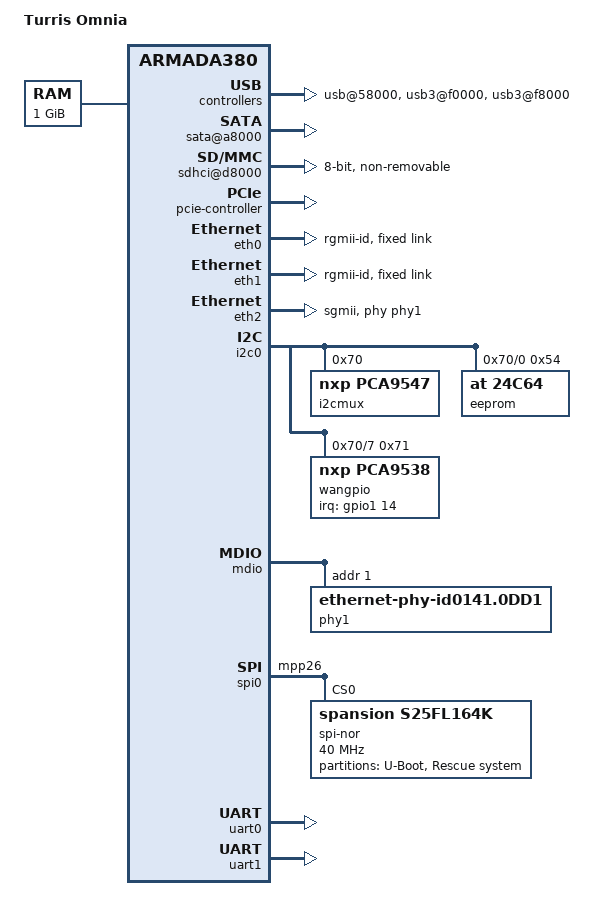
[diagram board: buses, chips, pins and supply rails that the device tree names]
/*
 * Device Tree file for the Turris Omnia
 * Schematic available at https://www.turris.cz/doc/_media/rtrom01-schema.pdf
 *
 * Copyright (C) 2016 Uwe Kleine-König <uwe@kleine-koenig.org>
 * Copyright (C) 2016 Tomas Hlavacek <tmshlvkc@gmail.com>
 *
 * This file is dual-licensed: you can use it either under the terms
 * of the GPL or the X11 license, at your option. Note that this dual
 * licensing only applies to this file, and not this project as a
 * whole.
 *
 *  a) This file is licensed under the terms of the GNU General Public
 *     License version 2.  This program is licensed "as is" without
 *     any warranty of any kind, whether express or implied.
 *
 * Or, alternatively,
 *
 *  b) Permission is hereby granted, free of charge, to any person
 *     obtaining a copy of this software and associated documentation
 *     files (the "Software"), to deal in the Software without
 *     restriction, including without limitation the rights to use,
 *     copy, modify, merge, publish, distribute, sublicense, and/or
 *     sell copies of the Software, and to permit persons to whom the
 *     Software is furnished to do so, subject to the following
 *     conditions:
 *
 *     The above copyright notice and this permission notice shall be
 *     included in all copies or substantial portions of the Software.
 *
 *     THE SOFTWARE IS PROVIDED "AS IS", WITHOUT WARRANTY OF ANY KIND,
 *     EXPRESS OR IMPLIED, INCLUDING BUT NOT LIMITED TO THE WARRANTIES
 *     OF MERCHANTABILITY, FITNESS FOR A PARTICULAR PURPOSE AND
 *     NONINFRINGEMENT. IN NO EVENT SHALL THE AUTHORS OR COPYRIGHT
 *     HOLDERS BE LIABLE FOR ANY CLAIM, DAMAGES OR OTHER LIABILITY,
 *     WHETHER IN AN ACTION OF CONTRACT, TORT OR OTHERWISE, ARISING
 *     FROM, OUT OF OR IN CONNECTION WITH THE SOFTWARE OR THE USE OR
 *     OTHER DEALINGS IN THE SOFTWARE.
 */

/dts-v1/;

#include <dt-bindings/gpio/gpio.h>
#include <dt-bindings/input/input.h>
#include "armada-385.dtsi"

/ {
	model = "Turris Omnia";
	compatible = "cznic,turris-omnia", "marvell,armada385", \
			"marvell,armada380";

	chosen {
		stdout-path = &uart0;
	};

	memory {
		device_type = "memory";
		reg = <0x00000000 0x40000000>; /* 1024 MB */
	};

	soc {
		ranges = <MBUS_ID(0xf0, 0x01) 0 0xf1000000 0x100000
			  MBUS_ID(0x01, 0x1d) 0 0xfff00000 0x100000
			  MBUS_ID(0x09, 0x19) 0 0xf1100000 0x10000
			  MBUS_ID(0x09, 0x15) 0 0xf1110000 0x10000>;

		internal-regs {

			/* USB part of the PCIe2/USB 2.0 port */
			usb@58000 {
				status = "okay";
			};

			sata@a8000 {
				status = "okay";
			};

			sdhci@d8000 {
				pinctrl-names = "default";
				pinctrl-0 = <&sdhci_pins>;
				status = "okay";

				bus-width = <8>;
				no-1-8-v;
				non-removable;
			};

			usb3@f0000 {
				status = "okay";
			};

			usb3@f8000 {
				status = "okay";
			};
		};

		pcie-controller {
			status = "okay";

			pcie@1,0 {
				/* Port 0, Lane 0 */
				status = "okay";
			};

			pcie@2,0 {
				/* Port 1, Lane 0 */
				status = "okay";
			};

			pcie@3,0 {
				/* Port 2, Lane 0 */
				status = "okay";
			};
		};
	};
};

/* Connected to 88E6176 switch, port 6 */
&eth0 {
	pinctrl-names = "default";
	pinctrl-0 = <&ge0_rgmii_pins>;
	status = "okay";
	phy-mode = "rgmii-id";

	fixed-link {
		speed = <1000>;
		full-duplex;
	};
};

/* Connected to 88E6176 switch, port 5 */
&eth1 {
	pinctrl-names = "default";
	pinctrl-0 = <&ge1_rgmii_pins>;
	status = "okay";
	phy-mode = "rgmii-id";

	fixed-link {
		speed = <1000>;
		full-duplex;
	};
};

/* WAN port */
&eth2 {
	status = "okay";
	phy-mode = "sgmii";
	phy = <&phy1>;
};

&i2c0 {
	pinctrl-names = "default";
	pinctrl-0 = <&i2c0_pins>;
	status = "okay";

	i2cmux@70 {
		compatible = "nxp,pca9547";
		#address-cells = <1>;
		#size-cells = <0>;
		reg = <0x70>;
		status = "okay";

		i2c@0 {
			#address-cells = <1>;
			#size-cells = <0>;
			reg = <0>;
			status = "okay";

			/* STM32F0 command interface at address 0x2a.
			 * STM32F0 LED interface at address 0x2b.
			 */

			eeprom@54 {
				compatible = "at,24c64";
				reg = <0x54>;

				/* The EEPROM contains data for bootloader.
				 * Contents:
				 *	struct omnia_eeprom {
				 *		u32 magic; (=0x0341a034)
				 *		u32 ramsize;
				 *		char region[4] (=0x0);
				 *		u32 crc32;
				 *	};
				 */
			};
		};

		/* Channel 1: Routed to PCIe0/mSATA connector (CN7A).
		 * Channel 2: Routed to PCIe1/USB2 connector (CN61A).
		 * Channel 3: Routed to PCIe2 connector (CN62A).
		 * Channel 4: Routed to SFP+.
		 * Channel 5: ATSHA204A at address 0x64.
		 * Channel 6: Routed to user pin header CN11.
		 */

		i2c@7 {
			/* GPIO expander for SFP+ signals */
			#address-cells = <1>;
			#size-cells = <0>;
			reg = <7>;

			wangpio: gpio@71 {
				compatible = "nxp,pca9538";
				reg = <0x71>;
				interrupt-parent = <&gpio1>;
				interrupts = <14 IRQ_TYPE_LEVEL_LOW>;
				gpio-controller;
				#gpio-cells = <2>;
			};
		};
	};
};

&mdio {
	pinctrl-names = "default";
	pinctrl-0 = <&mdio_pins>;
	status = "okay";

	phy1: phy@1 {
		status = "okay";
		compatible = "ethernet-phy-id0141.0DD1", \
				"ethernet-phy-ieee802.3-c22";
		reg = <1>;
		/* IRQ is connected to PCA9538 pin 7. Currently it
		 * can not be utilized.
		 */
	};

	/* Switch MV88E7176 at address 0x10. */
};

&pinctrl {
	spi0cs1_pins: spi0-pins-0cs1 {
		marvell,pins = "mpp26";
		marvell,function = "spi0";
	};
};

&spi0 {
	pinctrl-names = "default";
	pinctrl-0 = <&spi0_pins &spi0cs1_pins>;
	status = "okay";

	spi-nor@0 {
		compatible = "spansion,s25fl164k", "jedec,spi-nor";
		#address-cells = <1>;
		#size-cells = <1>;
		reg = <0>;
		spi-max-frequency = <40000000>;

		partition@0 {
			reg = <0x0 0x00100000>;
			label = "U-Boot";
		};

		partition@1 {
			reg = <0x00100000 0x00700000>;
			label = "Rescue system";
		};
	};

	/* SPI0 + CS1 (MPP26) is routed to a pin header CN11. */
};

&uart0 {
	/* Pin header CN10. */
	pinctrl-names = "default";
	pinctrl-0 = <&uart0_pins>;
	status = "okay";
};

&uart1 {
	/* Pin header CN11. */
	pinctrl-names = "default";
	pinctrl-0 = <&uart1_pins>;
	status = "okay";
};

